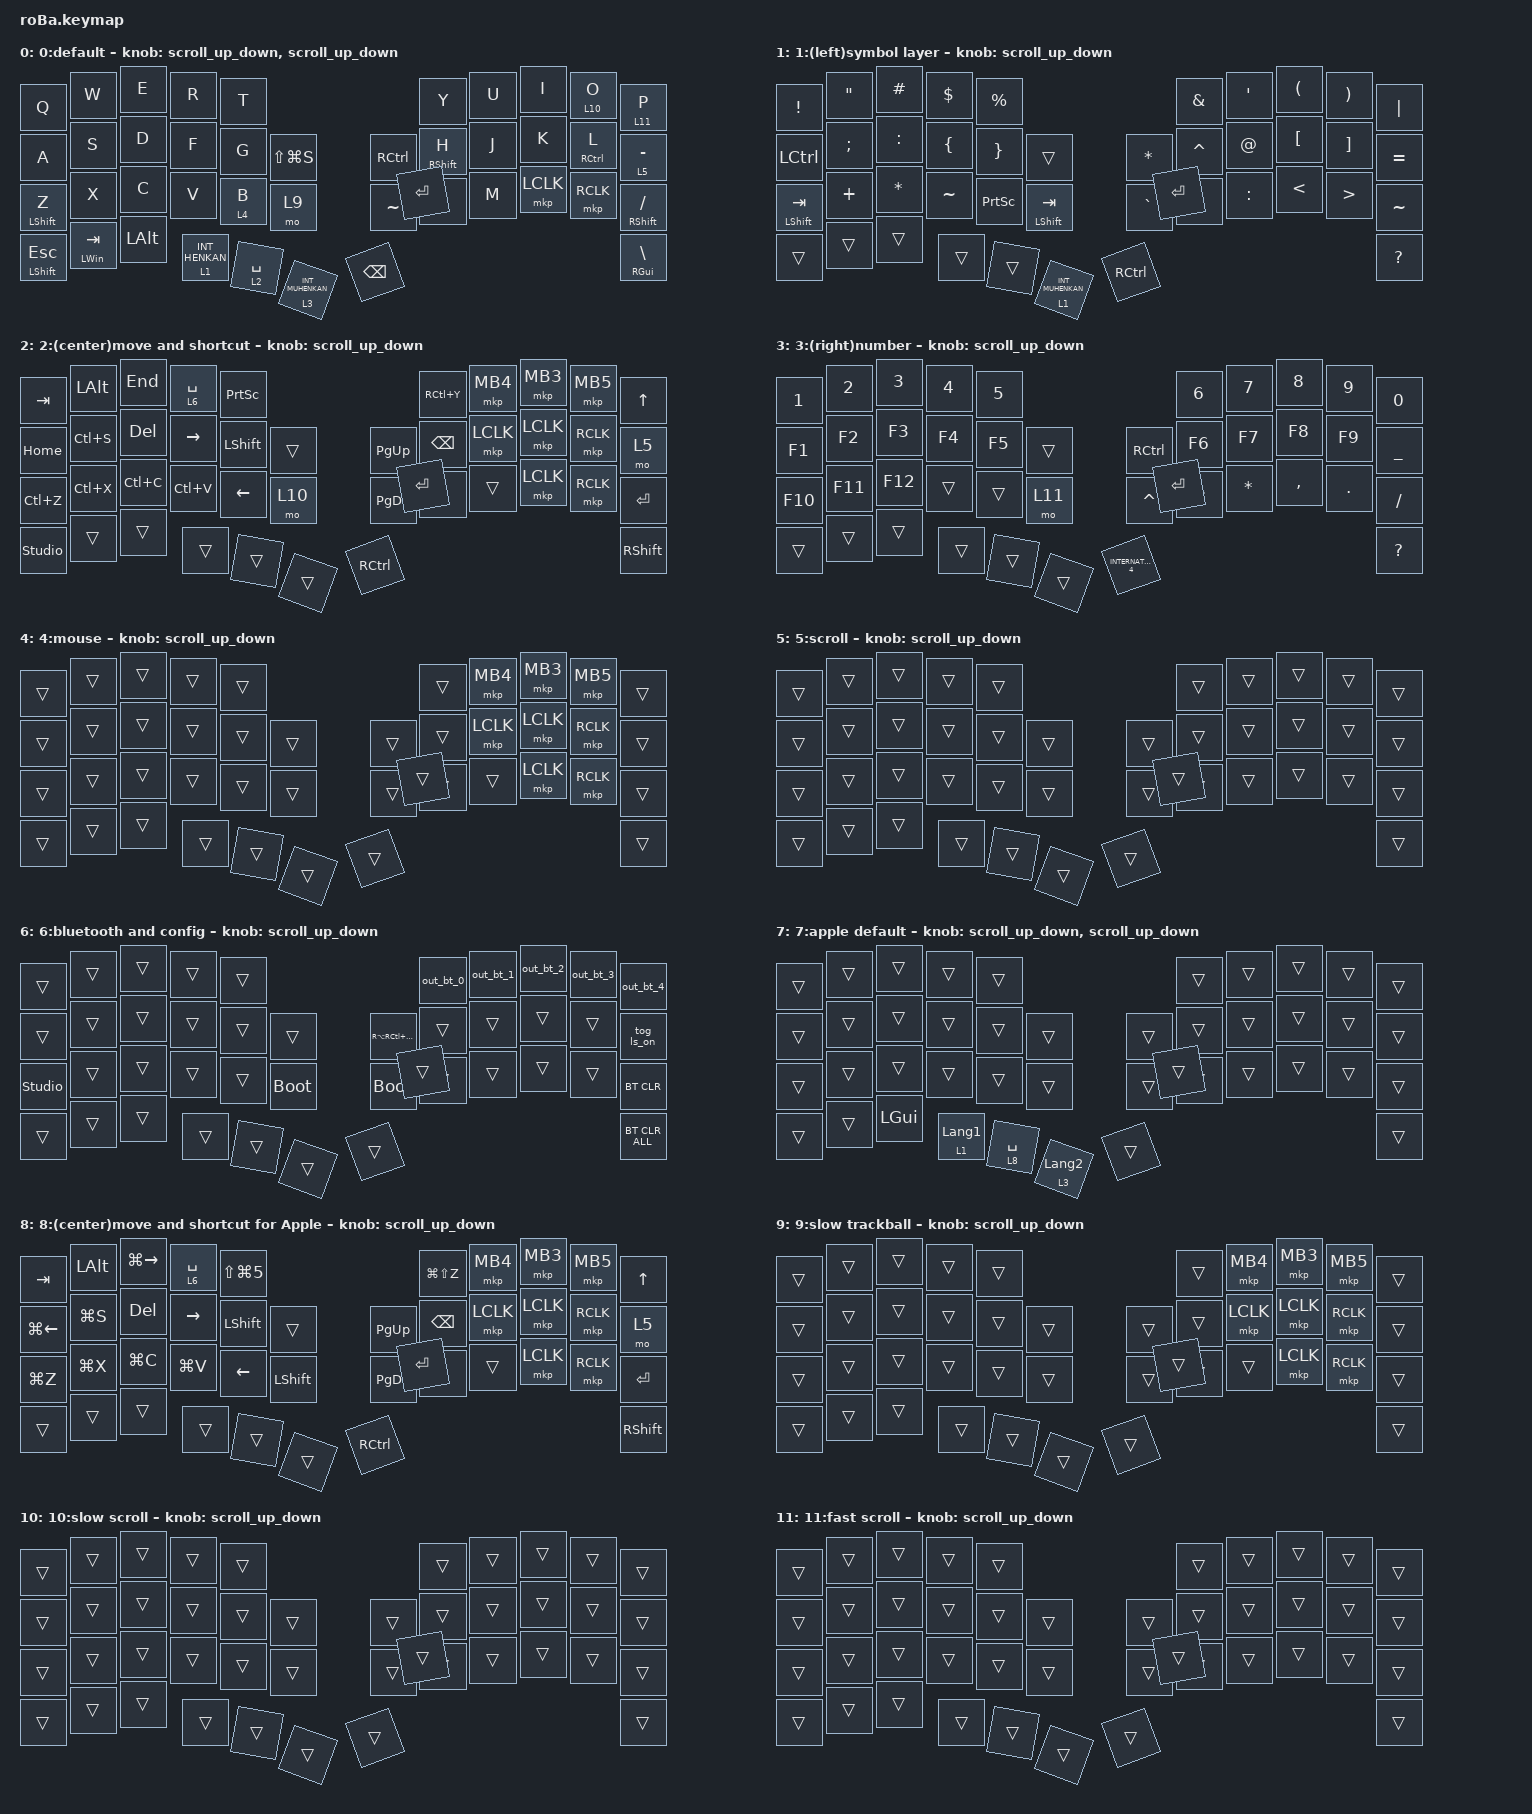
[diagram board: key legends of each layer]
#include <layout_shift.dtsi>
#include <behaviors.dtsi>
#include <behaviors/runtime-sensor-rotate.dtsi>
#include <dt-bindings/zmk/bt.h>
#include <dt-bindings/zmk/keys.h>
#include <dt-bindings/zmk/outputs.h>
#include <dt-bindings/zmk/pointing.h>

#define ZMK_POINTING_DEFAULT_SCRL_VAL 100

// zmk-layout-shift (https://github.com/kot149/zmk-layout-shift/blob/v2/README_ja.md)
// US配列のキーコードをJIS配列OS向けに変換する。旧JP_xxxマクロは廃止し、
// 標準キーコード + このモジュールによる変換に置き換えた(memos/zmk-layout-shift-v2-migration.md参照)。
// 初回フラッシュ後はBTレイヤーの&tog_ls_onを一度押して変換を有効化すること
// (CONFIG_LAYOUT_SHIFT_PERSISTENT_STATE=yにより設定は不揮発領域に保存される)。

&tog_ls { layout-maps = <&layout_shift_map_us_to_jis>; };

&tog_ls_on { layout-maps = <&layout_shift_map_us_to_jis>; };

&tog_ls_off { layout-maps = <&layout_shift_map_us_to_jis>; };

// レイヤー番号 (KeymapEditor互換のため数値リテラル直書き。マクロは使用しない)
// 0: DEFAULT_L        ベースQWERTYレイヤー
// 1: SYMBOL_L         記号・カッコ
// 2: MOUSE_CTRL_L     マウスボタン・矢印・クリップボード(Windows想定)
// 3: NUM_FUNCTION_L   数字・ファンクションキー
// 4: MOUSE_L          マウスボタンのみ
// 5: SCROLL_L         トラックボールスクロールモード(標準速度)
// 6: BT_L             Bluetoothプロファイル選択
// 7: APPLE_L          Apple(Mac/iOS)用デフォルトレイヤー
// 8: CENTER2_L        マウスボタン・矢印・クリップボード(Apple想定、CENTER2)
// 9: SLOWTRACKBALL_L  トラックボールカーソル低速モード(移行キー未割り当て)
// 10: SLOWSCROLL_L    トラックボールスクロール低速モード(移行キー未割り当て)
// 11: FASTRSCROLL_L   トラックボールスクロール高速モード(移行キー未割り当て)

&mt {
    flavor = "balanced";
    quick-tap-ms = <0>;
};

/ {
    mo2: mo2 {
        compatible = "zmk,behavior-mod-morph";
        #binding-cells = <0>;
        bindings = <&kp N2>, <&kp AT>;

        mods = <(MOD_LSFT|MOD_RSFT)>;
    };

    mo6: mo6 {
        compatible = "zmk,behavior-mod-morph";
        #binding-cells = <0>;
        bindings = <&kp N6>, <&kp CARET>;

        mods = <(MOD_LSFT|MOD_RSFT)>;
    };

    mo7: mo7 {
        compatible = "zmk,behavior-mod-morph";
        #binding-cells = <0>;
        bindings = <&kp N7>, <&kp AMPERSAND>;

        mods = <(MOD_LSFT|MOD_RSFT)>;
    };

    mo8: mo8 {
        compatible = "zmk,behavior-mod-morph";
        #binding-cells = <0>;
        bindings = <&kp N8>, <&kp ASTERISK>;

        mods = <(MOD_LSFT|MOD_RSFT)>;
    };

    mo9: mo9 {
        compatible = "zmk,behavior-mod-morph";
        #binding-cells = <0>;
        bindings = <&kp N9>, <&kp LPAR>;

        mods = <(MOD_LSFT|MOD_RSFT)>;
    };

    mo0: mo0 {
        compatible = "zmk,behavior-mod-morph";
        #binding-cells = <0>;
        bindings = <&kp N0>, <&kp LS(N9)>;

        mods = <(MOD_LSFT|MOD_RSFT)>;
    };

    moA: moA {
        compatible = "zmk,behavior-mod-morph";
        #binding-cells = <0>;
        bindings = <&kp MINUS>, <&kp UNDERSCORE>;

        mods = <(MOD_LSFT|MOD_RSFT)>;
    };

    moB: moB {
        compatible = "zmk,behavior-mod-morph";
        #binding-cells = <0>;
        bindings = <&kp EQUAL>, <&kp PLUS>;

        mods = <(MOD_LSFT|MOD_RSFT)>;
    };

    moC: moC {
        compatible = "zmk,behavior-mod-morph";
        #binding-cells = <0>;
        bindings = <&kp INT3>, <&kp PIPE>;

        mods = <(MOD_LSFT|MOD_RSFT)>;
    };

    moD: moD {
        compatible = "zmk,behavior-mod-morph";
        #binding-cells = <0>;
        bindings = <&kp LBKT>, <&kp LBRC>;

        mods = <(MOD_LSFT|MOD_RSFT)>;
    };

    moE: moE {
        compatible = "zmk,behavior-mod-morph";
        #binding-cells = <0>;
        bindings = <&kp RIGHT_BRACKET>, <&kp RIGHT_BRACE>;

        mods = <(MOD_LSFT|MOD_RSFT)>;
    };

    moF: moF {
        compatible = "zmk,behavior-mod-morph";
        #binding-cells = <0>;
        bindings = <&kp SEMI>, <&kp PLUS>;

        mods = <(MOD_LSFT|MOD_RSFT)>;
    };

    moG: moG {
        compatible = "zmk,behavior-mod-morph";
        #binding-cells = <0>;
        bindings = <&kp APOSTROPHE>, <&kp DQT>;

        mods = <(MOD_LSFT|MOD_RSFT)>;
    };

    moH: moH {
        compatible = "zmk,behavior-mod-morph";
        #binding-cells = <0>;
        bindings = <&kp INT1>, <&kp TILDE>;

        mods = <(MOD_LSFT|MOD_RSFT)>;
    };

    moI: moI {
        compatible = "zmk,behavior-mod-morph";
        #binding-cells = <0>;
        bindings = <&kp INT1>, <&kp UNDERSCORE>;

        mods = <(MOD_LSFT|MOD_RSFT)>;
    };

    macros {
        to_layer_0: to_layer_0 {
            compatible = "zmk,behavior-macro-one-param";
            #binding-cells = <1>;
            bindings = <&to 0 &macro_param_1to1 &kp MACRO_PLACEHOLDER>;
            label = "TO_LAYER_0";
        };

        // BTプロファイル選択時に他プロファイルを都度切断して接続を安定させ、
        // あわせてプロファイルに対応するデフォルトレイヤーに切り替える
        // (プロファイル0-1: Windows想定 → レイヤー0、2-4: Apple想定 → レイヤー7)
        // (ZMKは切断直後に選択中プロファイルへ自動的に再接続する)

        out_bt_0: out_bt_0 {
            compatible = "zmk,behavior-macro";
            #binding-cells = <0>;
            wait-ms = <50>;
            bindings = <&out OUT_BLE &bt BT_SEL 0 &bt BT_DISC 1 &bt BT_DISC 2 &bt BT_DISC 3 &bt BT_DISC 4 &to 0>;
        };

        out_bt_1: out_bt_1 {
            compatible = "zmk,behavior-macro";
            #binding-cells = <0>;
            wait-ms = <50>;
            bindings = <&out OUT_BLE &bt BT_SEL 1 &bt BT_DISC 0 &bt BT_DISC 2 &bt BT_DISC 3 &bt BT_DISC 4 &to 0>;
        };

        out_bt_2: out_bt_2 {
            compatible = "zmk,behavior-macro";
            #binding-cells = <0>;
            wait-ms = <50>;
            bindings = <&out OUT_BLE &bt BT_SEL 2 &bt BT_DISC 0 &bt BT_DISC 1 &bt BT_DISC 3 &bt BT_DISC 4 &to 7>;
        };

        out_bt_3: out_bt_3 {
            compatible = "zmk,behavior-macro";
            #binding-cells = <0>;
            wait-ms = <50>;
            bindings = <&out OUT_BLE &bt BT_SEL 3 &bt BT_DISC 0 &bt BT_DISC 1 &bt BT_DISC 2 &bt BT_DISC 4 &to 7>;
        };

        out_bt_4: out_bt_4 {
            compatible = "zmk,behavior-macro";
            #binding-cells = <0>;
            wait-ms = <50>;
            bindings = <&out OUT_BLE &bt BT_SEL 4 &bt BT_DISC 0 &bt BT_DISC 1 &bt BT_DISC 2 &bt BT_DISC 3 &to 7>;
        };
    };

    behaviors {
        // zmk-layout-shift用: KeymapEditor対策として&kpの上書きをここで直接定義
        // (includeの並び順をKeymapEditorが変更してしまうことがあるため)

        original_key_press: original_key_press {
            compatible = "zmk,behavior-key-press";
            #binding-cells = <1>;
            label = "KEY_PRESS";
        };

        kp: key_press {
            compatible = "zmk,behavior-layout-shift-key-press";
            #binding-cells = <1>;
            label = "LAYOUT_SHIFT_KEY_PRESS";
        };

        lt_to_layer_0: lt_to_layer_0 {
            compatible = "zmk,behavior-hold-tap";
            label = "LAYER_TAP_TO_0";
            bindings = <&mo>, <&to_layer_0>;

            #binding-cells = <2>;
            tapping-term-ms = <200>;
        };

        // エンコーダー: DYA Studioからレイヤー別に割り当て変更可能(未設定時はこの既定値=スクロール)
        scroll_up_down: behavior_sensor_rotate_mouse_wheel_up_down {
            compatible = "zmk,behavior-runtime-sensor-rotate";
            #sensor-binding-cells = <0>;
            cw-binding = <&msc SCRL_DOWN>;
            ccw-binding = <&msc SCRL_UP>;

            tap-ms = <20>;
        };

        mouse_scroll: mouse_wheel_scrl {
            compatible = "zmk,behavior-sensor-rotate-var";
            #sensor-binding-cells = <2>;
            bindings = <&msc>, <&msc>;

            // 追加: スクロールのタップ時間を設定 (20ms)

            tap-ms = <20>;
        };

        long_hold_mod_tap: long_hold_mod_tap {
            compatible = "zmk,behavior-hold-tap";
            label = "LONG_HOLD_MOD_TAP";
            bindings = <&kp>, <&kp>;

            #binding-cells = <2>;
            tapping-term-ms = <350>;
            quick-tap-ms = <0>;
            require-prior-idle-ms = <0>;
            flavor = "tap-preferred";
        };

        medium_hold_mod_tap: medium_hold_mod_tap {
            compatible = "zmk,behavior-hold-tap";
            label = "MEDIUM_HOLD_MOD_TAP";
            bindings = <&kp>, <&kp>;

            #binding-cells = <2>;
            tapping-term-ms = <250>;
            flavor = "balanced";
        };
    };

    keymap {
        compatible = "zmk,keymap";

        default_layer {
            display-name = "0:default";
            bindings = <
&kp Q                            &kp W             &kp E         &kp R             &kp T                                               &kp Y              &kp U  &kp I      &lt 10 O     &lt 11 P
&kp A                            &kp S             &kp D         &kp F             &kp G        &kp LS(LG(S))           &kp RCTRL      &mt RIGHT_SHIFT H  &kp J  &kp K      &mt RCTRL L  &lt 5 MINUS
&long_hold_mod_tap LEFT_SHIFT Z  &kp X             &kp C         &kp V             &lt 4 B      &mo 9                   &kp TILDE      &kp N              &kp M  &mkp LCLK  &mkp RCLK    &long_hold_mod_tap RIGHT_SHIFT SLASH
&mt LEFT_SHIFT ESC               &mt LEFT_WIN TAB  &kp LEFT_ALT  &lt 1 INT_HENKAN  &lt 2 SPACE  &lt 3 INT_MUHENKAN      &kp BACKSPACE  &kp ENTER                                         &mt RIGHT_GUI BACKSLASH
            >;

            sensor-bindings = <&scroll_up_down>, <&scroll_up_down>;
        };

        symbol {
            display-name = "1:(left)symbol layer";
            bindings = <
&kp EXCLAMATION     &kp DOUBLE_QUOTES  &kp HASH      &kp DOLLAR      &kp PERCENT                                            &kp AMPERSAND  &kp SINGLE_QUOTE  &kp LEFT_PARENTHESIS  &kp RIGHT_PARENTHESIS  &kp PIPE
&kp LCTRL           &kp SEMICOLON      &kp COLON     &kp LEFT_BRACE  &kp RIGHT_BRACE  &trans                  &kp ASTERISK  &kp CARET      &kp AT            &kp LEFT_BRACKET      &kp RIGHT_BRACKET      &kp EQUAL
&mt LEFT_SHIFT TAB  &kp PLUS           &kp ASTERISK  &kp TILDE       &kp PRINTSCREEN  &mt LEFT_SHIFT TAB      &kp GRAVE     &kp SEMICOLON  &kp COLON         &kp LESS_THAN         &kp GREATER_THAN       &kp TILDE
&trans              &trans             &trans        &trans          &trans           &lt 1 INT_MUHENKAN      &kp RCTRL     &kp ENTER                                                                     &kp QUESTION
            >;

            sensor-bindings = <&scroll_up_down>;
        };

        mouse_arrow_ctrl {
            display-name = "2:(center)move and shortcut";
            bindings = <
&kp TAB        &kp LEFT_ALT  &kp END    &lt 6 SPACE      &kp PRINTSCREEN                             &kp RC(Y)       &mkp MB4   &mkp MB3   &mkp MB5   &kp UP_ARROW
&kp HOME       &kp LC(S)     &kp DEL    &kp RIGHT_ARROW  &kp LEFT_SHIFT   &trans      &kp PAGE_UP    &kp BACKSPACE   &mkp LCLK  &mkp LCLK  &mkp RCLK  &mo 5
&kp LC(Z)      &kp LC(X)     &kp LC(C)  &kp LC(V)        &kp LEFT_ARROW   &mo 10      &kp PAGE_DOWN  &kp DOWN_ARROW  &trans     &mkp LCLK  &mkp RCLK  &kp ENTER
&studio_unlock &trans        &trans     &trans           &trans           &trans      &kp RCTRL      &kp ENTER                                        &kp RIGHT_SHIFT
            >;

            sensor-bindings = <&scroll_up_down>;
        };

        num {
            display-name = "3:(right)number";
            bindings = <
&kp NUMBER_1  &kp NUMBER_2  &kp NUMBER_3  &kp NUMBER_4  &kp NUMBER_5                                   &kp NUMBER_6  &kp NUMBER_7  &kp NUMBER_8  &kp NUMBER_9  &kp NUMBER_0
&kp F1        &kp F2        &kp F3        &kp F4        &kp F5        &trans      &kp RCTRL            &kp F6        &kp F7        &kp F8        &kp F9        &kp UNDERSCORE
&kp F10       &kp F11       &kp F12       &trans        &trans        &mo 11      &kp CARET            &kp PLUS      &kp ASTERISK  &kp COMMA     &kp PERIOD    &kp SLASH
&trans        &trans        &trans        &trans        &trans        &trans      &kp INTERNATIONAL_4  &kp ENTER                                               &kp QUESTION
            >;

            sensor-bindings = <&scroll_up_down>;
        };

        MOUSE {
            display-name = "4:mouse";
            bindings = <
&trans  &trans  &trans  &trans  &trans                      &trans  &mkp MB4   &mkp MB3   &mkp MB5   &trans
&trans  &trans  &trans  &trans  &trans  &trans      &trans  &trans  &mkp LCLK  &mkp LCLK  &mkp RCLK  &trans
&trans  &trans  &trans  &trans  &trans  &trans      &trans  &trans  &trans     &mkp LCLK  &mkp RCLK  &trans
&trans  &trans  &trans  &trans  &trans  &trans      &trans  &trans                                   &trans
            >;

            sensor-bindings = <&scroll_up_down>;
        };

        SCROLL {
            display-name = "5:scroll";
            bindings = <
&trans  &trans  &trans  &trans  &trans                      &trans  &trans  &trans  &trans  &trans
&trans  &trans  &trans  &trans  &trans  &trans      &trans  &trans  &trans  &trans  &trans  &trans
&trans  &trans  &trans  &trans  &trans  &trans      &trans  &trans  &trans  &trans  &trans  &trans
&trans  &trans  &trans  &trans  &trans  &trans      &trans  &trans                          &trans
            >;

            sensor-bindings = <&scroll_up_down>;
        };

        bt {
            display-name = "6:bluetooth and config";
            bindings = <
&trans          &trans  &trans  &trans  &trans                                       &out_bt_0  &out_bt_1  &out_bt_2  &out_bt_3  &out_bt_4
&trans          &trans  &trans  &trans  &trans  &trans              &kp RA(RC(DEL))  &trans     &trans     &trans     &trans     &tog_ls_on
&studio_unlock  &trans  &trans  &trans  &trans  &bootloader      &bootloader      &trans     &trans     &trans     &trans     &bt BT_CLR
&trans          &trans  &trans  &trans  &trans  &trans              &trans           &trans                                      &bt BT_CLR_ALL
            >;

            sensor-bindings = <&scroll_up_down>;
        };

        apple_default_layer {
            display-name = "7:apple default";
            bindings = <
&trans  &trans  &trans        &trans            &trans                                     &trans  &trans  &trans  &trans  &trans
&trans  &trans  &trans        &trans            &trans       &trans                &trans  &trans  &trans  &trans  &trans  &trans
&trans  &trans  &trans        &trans            &trans       &trans                &trans  &trans  &trans  &trans  &trans  &trans
&trans  &trans  &kp LEFT_GUI  &lt 1 LANGUAGE_1  &lt 8 SPACE  &lt 3 LANGUAGE_2      &trans  &trans                          &trans
            >;

            sensor-bindings = <&scroll_up_down>, <&scroll_up_down>;
        };

        center2_layer {
            display-name = "8:(center)move and shortcut for Apple";
            bindings = <
&kp TAB       &kp LEFT_ALT  &kp LG(RIGHT)  &lt 6 SPACE      &kp LS(LG(N5))                                     &kp LG(LS(Z))   &mkp MB4   &mkp MB3   &mkp MB5   &kp UP_ARROW
&kp LG(LEFT)  &kp LG(S)     &kp DEL        &kp RIGHT_ARROW  &kp LEFT_SHIFT  &trans              &kp PAGE_UP    &kp BACKSPACE   &mkp LCLK  &mkp LCLK  &mkp RCLK  &mo 5
&kp LG(Z)     &kp LG(X)     &kp LG(C)      &kp LG(V)        &kp LEFT_ARROW  &kp LEFT_SHIFT      &kp PAGE_DOWN  &kp DOWN_ARROW  &trans     &mkp LCLK  &mkp RCLK  &kp ENTER
&trans        &trans        &trans         &trans           &trans          &trans              &kp RCTRL      &kp ENTER                                        &kp RIGHT_SHIFT
            >;

            sensor-bindings = <&scroll_up_down>;
        };

        slow_trackball_layer {
            display-name = "9:slow trackball";
            bindings = <
&trans  &trans  &trans  &trans  &trans                      &trans  &mkp MB4   &mkp MB3   &mkp MB5   &trans
&trans  &trans  &trans  &trans  &trans  &trans      &trans  &trans  &mkp LCLK  &mkp LCLK  &mkp RCLK  &trans
&trans  &trans  &trans  &trans  &trans  &trans      &trans  &trans  &trans     &mkp LCLK  &mkp RCLK  &trans
&trans  &trans  &trans  &trans  &trans  &trans      &trans  &trans                                   &trans
            >;

            sensor-bindings = <&scroll_up_down>;
        };

        slow_scroll_layer {
            display-name = "10:slow scroll";
            bindings = <
&trans  &trans  &trans  &trans  &trans                      &trans  &trans  &trans  &trans  &trans
&trans  &trans  &trans  &trans  &trans  &trans      &trans  &trans  &trans  &trans  &trans  &trans
&trans  &trans  &trans  &trans  &trans  &trans      &trans  &trans  &trans  &trans  &trans  &trans
&trans  &trans  &trans  &trans  &trans  &trans      &trans  &trans                          &trans
            >;

            sensor-bindings = <&scroll_up_down>;
        };

        fast_scroll_layer {
            display-name = "11:fast scroll";
            bindings = <
&trans  &trans  &trans  &trans  &trans                      &trans  &trans  &trans  &trans  &trans
&trans  &trans  &trans  &trans  &trans  &trans      &trans  &trans  &trans  &trans  &trans  &trans
&trans  &trans  &trans  &trans  &trans  &trans      &trans  &trans  &trans  &trans  &trans  &trans
&trans  &trans  &trans  &trans  &trans  &trans      &trans  &trans                          &trans
            >;

            sensor-bindings = <&scroll_up_down>;
        };
    };
};
